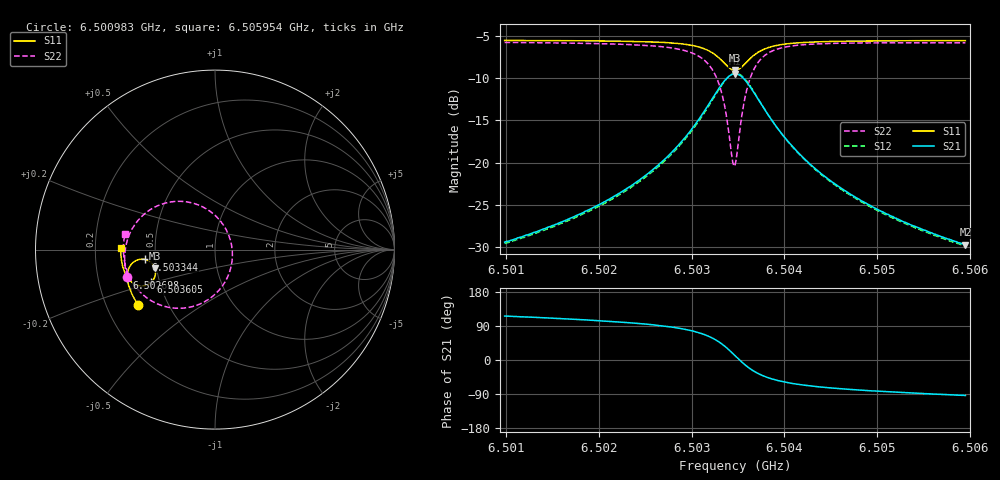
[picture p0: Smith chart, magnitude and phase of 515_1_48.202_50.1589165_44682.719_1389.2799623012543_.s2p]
#  HZ  S  RI  R  50.00
! Rohde & Schwarz Vector Network Analyzer
! Rohde-Schwarz,ZNB20-2Port,1311601062101988,3.16
! Created: UTC 3/20/2024, 11:59:07 AM
! freq[Hz]  re:S11  im:S11  re:S21  im:S21  re:S12  im:S12  re:S22  im:S22
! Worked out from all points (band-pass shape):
!   401 points, 6.500983 GHz to 6.505954 GHz, reference 50 ohm
!   highest |S21| = -9.50 dB at 6.503469 GHz (marker M1); lowest = -29.7 dB at 6.505954 GHz (marker M2)
!   |S21| within 3 dB of the highest: 6.503221 GHz to 6.503718 GHz (497.6 kHz wide, 0.00765 % of centre)
!   lowest |S11| = -9.1 dB at 6.503469 GHz (marker M3), VSWR 2.08, Z = 24.5 - j5.87 ohm
!   |S11| at or under -10 dB: nowhere
!   |S22| runs from -20.4 to -5.8 dB; largest |S21 - S12| = 0.011
!   S11 on the Smith chart (normalised r, x): 6.500983 GHz: 0.34, -0.29; 6.502698 GHz: 0.33, -0.14; 6.503344 GHz: 0.44, -0.06; 6.503605 GHz: 0.45, -0.19; 6.505954 GHz: 0.31, +0.01
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6.5009833e9  -0.4275 -0.3083  -0.0149 0.0305  -0.0132 0.0305  -0.4902 -0.1523
6.5018159e9  -0.4633 -0.2465  -0.014 0.0483  -0.0119 0.048  -0.5031 -0.0636
6.5022632e9  -0.479 -0.2066  -0.0112 0.0673  -0.0084 0.0663  -0.5 0.000283
6.5026484e9  -0.4881 -0.1638  -0.002 0.0978  0.00152 0.0954  -0.4796 0.0776
6.5026982e9  -0.4886 -0.1572  0.000438 0.1034  0.00407 0.1011  -0.4743 0.0903
6.5029343e9  -0.4854 -0.1203  0.0228 0.1398  0.0264 0.1359  -0.4277 0.1641
6.5030958e9  -0.4711 -0.0883  0.0616 0.1757  0.0642 0.1702  -0.3525 0.2274
6.5032449e9  -0.434 -0.0584  0.1422 0.2044  0.1428 0.1986  -0.2057 0.269
6.5033443e9  -0.3881 -0.0551  0.2326 0.1886  0.2326 0.1843  -0.0494 0.2276
6.5034313e9  -0.3455 -0.0835  0.3106 0.1154  0.3129 0.1117  0.0751 0.0837
6.5034562e9  -0.3375 -0.0976  0.3239 0.0841  0.3273 0.0796  0.0924 0.0245
6.5034686e9  -0.3346 -0.1053  0.3282 0.0673  0.3319 0.0624  0.0963 -0.00645
6.5034934e9  -0.3315 -0.1212  0.3318 0.033  0.3359 0.0269  0.0944 -0.0692
6.5035307e9  -0.3334 -0.145  0.325 -0.0167  0.3286 -0.025  0.068 -0.1573
6.5036053e9  -0.3553 -0.182  0.2792 -0.0926  0.2796 -0.1036  -0.0401 -0.2797
6.5037171e9  -0.4006 -0.2021  0.1934 -0.1381  0.1884 -0.1476  -0.2143 -0.3267
6.5038787e9  -0.4475 -0.1926  0.1101 -0.1348  0.1034 -0.1399  -0.3642 -0.2792
6.5040526e9  -0.4752 -0.1712  0.0649 -0.1141  0.0587 -0.1164  -0.4373 -0.2132
6.5043012e9  -0.4962 -0.1412  0.0342 -0.0893  0.0297 -0.0897  -0.4812 -0.1404
6.5046615e9  -0.5115 -0.1032  0.0155 -0.0663  0.0122 -0.0658  -0.5036 -0.0673
6.5051337e9  -0.5214 -0.0593  0.00508 -0.0488  0.00286 -0.0482  -0.5104 0.000627
6.5059539e9  -0.5264 0.0105  -0.00214 -0.0327  -0.00331 -0.032  -0.5028 0.088
